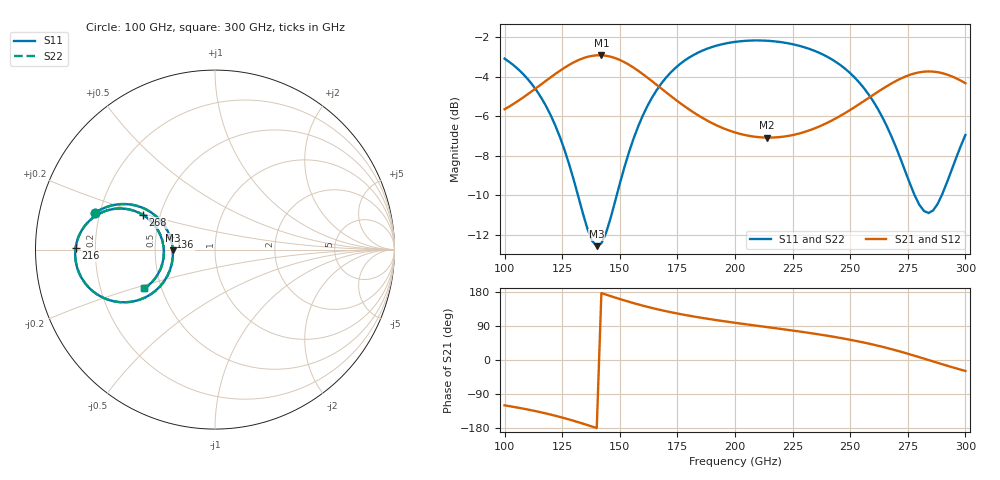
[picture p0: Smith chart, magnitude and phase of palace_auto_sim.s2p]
#  GHZ S DB R 50
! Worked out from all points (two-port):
!   101 points, 100 GHz to 300 GHz, reference 50 ohm
!   highest |S21| = -2.91 dB at 142 GHz (marker M1); lowest = -7.1 dB at 214 GHz (marker M2)
!   |S21| within 3 dB of the highest: start of sweep to 183.5 GHz; 246.7 GHz to end of sweep
!   lowest |S11| = -12.6 dB at 140 GHz (marker M3), VSWR 1.61, Z = 31 - j0.233 ohm
!   |S11| at or under -10 dB: 131.8 GHz to 148.7 GHz (16.85 GHz wide, 12 % of centre); 278 GHz to 289.8 GHz (11.79 GHz wide, 4.15 % of centre)
!   |S22| runs from -12.6 to -2.2 dB; largest |S21 - S12| = 7.5e-14
!   S11 on the Smith chart (normalised r, x): 100 GHz: 0.18, +0.14; 136 GHz: 0.60, +0.09; 216 GHz: 0.13, +0.01; 268 GHz: 0.40, +0.19; 300 GHz: 0.40, -0.22
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100  -3.09 163.2  -5.65 -119.7  -5.65 -119.7  -3.09 163.2
112  -4.40 155.4  -4.72 -133.1  -4.72 -133.1  -4.40 155.3
120  -5.95 150.9  -4.03 -144.0  -4.03 -144.0  -5.95 150.9
126  -7.71 149.8  -3.55 -153.6  -3.55 -153.6  -7.71 149.7
134  -10.93 158.5  -3.07 -167.9  -3.07 -167.9  -10.94 158.4
136  -11.72 164.3  -2.99 -171.8  -2.99 -171.8  -11.73 164.3
140  -12.58 -179.1  -2.92 -179.6  -2.92 -179.6  -12.59 -179.1
142  -12.44 -170.0  -2.91 176.5  -2.91 176.5  -12.45 -170.0
148  -10.30 -150.8  -3.06 164.7  -3.06 164.7  -10.30 -150.7
156  -7.13 -145.2  -3.54 150.1  -3.54 150.1  -7.13 -145.2
168  -4.35 -151.1  -4.60 131.6  -4.60 131.6  -4.35 -151.1
184  -2.78 -162.2  -5.95 112.8  -5.95 112.8  -2.78 -162.2
200  -2.24 -171.9  -6.82 98.2  -6.82 98.2  -2.24 -171.9
214  -2.18 -179.6  -7.08 86.8  -7.08 86.8  -2.18 -179.7
216  -2.20 179.3  -7.08 85.1  -7.08 85.1  -2.20 179.3
234  -2.67 169.4  -6.64 69.8  -6.64 69.8  -2.67 169.4
254  -4.30 158.2  -5.38 48.5  -5.38 48.5  -4.31 158.2
268  -7.05 154.3  -4.34 28.5  -4.34 28.5  -7.06 154.3
278  -10.01 164.9  -3.83 11.1  -3.83 11.1  -10.03 164.8
284  -10.90 -178.0  -3.73 -0.0  -3.73 -0.0  -10.92 -178.0
292  -9.35 -157.4  -3.89 -14.9  -3.89 -14.9  -9.37 -157.4
300  -6.95 -151.2  -4.33 -28.9  -4.33 -28.9  -6.96 -151.1
